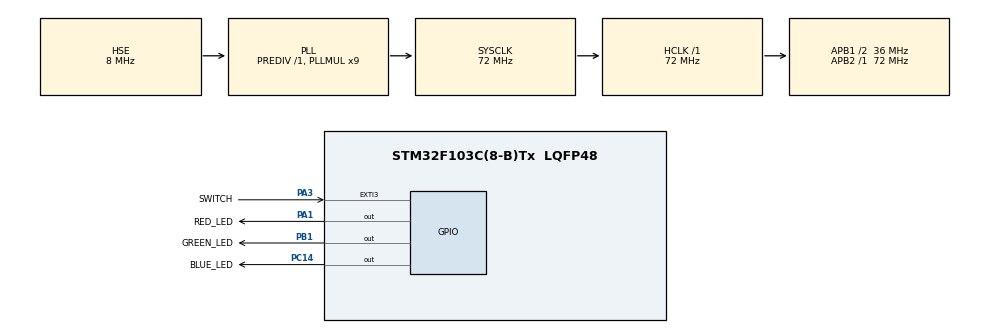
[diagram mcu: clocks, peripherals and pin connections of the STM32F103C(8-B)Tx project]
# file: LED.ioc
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Mcu.Family=STM32F1
Mcu.Name=STM32F103C(8-B)Tx
Mcu.Package=LQFP48
NVIC.EXTI3_IRQn=true\:1\:0\:true\:false\:true\:true\:true\:true
NVIC.PriorityGroup=NVIC_PRIORITYGROUP_4
PA1.GPIO_Label=RED_LED
PA1.PinState=GPIO_PIN_SET
PA1.Signal=GPIO_Output
PA13.Mode=Serial_Wire
PA13.Signal=SYS_JTMS-SWDIO
PA14.Mode=Serial_Wire
PA14.Signal=SYS_JTCK-SWCLK
PA3.GPIO_Label=SWITCH
PA3.GPIO_ModeDefaultEXTI=GPIO_MODE_IT_RISING_FALLING
PA3.GPIO_PuPd=GPIO_PULLDOWN
PA3.Signal=GPXTI3
PB1.GPIO_Label=GREEN_LED
PB1.PinState=GPIO_PIN_SET
PB1.Signal=GPIO_Output
PC14-OSC32_IN.GPIO_Label=BLUE_LED
PC14-OSC32_IN.PinState=GPIO_PIN_SET
PC14-OSC32_IN.Signal=GPIO_Output
PD0-OSC_IN.Mode=HSE-External-Oscillator
PD0-OSC_IN.Signal=RCC_OSC_IN
PD1-OSC_OUT.Mode=HSE-External-Oscillator
PD1-OSC_OUT.Signal=RCC_OSC_OUT
ProjectManager.HeapSize=0x200
ProjectManager.StackSize=0x400
ProjectManager.TargetToolchain=MDK-ARM V5.32
RCC.AHBFreq_Value=72000000
RCC.APB1CLKDivider=RCC_HCLK_DIV2
RCC.APB1Freq_Value=36000000
RCC.APB1TimFreq_Value=72000000
RCC.APB2Freq_Value=72000000
RCC.APB2TimFreq_Value=72000000
RCC.HCLKFreq_Value=72000000
RCC.PLLMUL=RCC_PLL_MUL9
RCC.PLLSourceVirtual=RCC_PLLSOURCE_HSE
RCC.SYSCLKFreq_VALUE=72000000
RCC.SYSCLKSource=RCC_SYSCLKSOURCE_PLLCLK
RCC.USBFreq_Value=72000000
board=custom

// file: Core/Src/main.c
/* USER CODE BEGIN Header */
/**
  ******************************************************************************
  * @file           : main.c
  * @brief          : Main program body
  ******************************************************************************
  * @attention
  *
  * Copyright (c) 2024 STMicroelectronics.
  * All rights reserved.
  *
  * This software is licensed under terms that can be found in the LICENSE file
  * in the root directory of this software component.
  * If no LICENSE file comes with this software, it is provided AS-IS.
  *
  ******************************************************************************
  */
/* USER CODE END Header */
#include "main.h"
#include "gpio.h"

void SystemClock_Config(void);

/* USER CODE BEGIN 0 */
uint32_t flag=0;//自定义中断标识符号
void HAL_GPIO_EXTI_Callback(uint16_t GPIO_Pin)
{
  if(GPIO_Pin == SWITCH_Pin)
	{
      //获取A3的电位
     GPIO_PinState pinState = HAL_GPIO_ReadPin(SWITCH_GPIO_Port,SWITCH_Pin);

      //高电位
      if(pinState==GPIO_PIN_SET)//PA3高电位流水灯亮
      {
		  flag=1;//PA3高电位标识
	  }
      //低电位
      else if(pinState==GPIO_PIN_RESET)//PA3低电位流水灯灭
	  {
		  flag=0;//PA3低电位标识
	  }
    }
}
/* USER CODE END 0 */

int main(void)
{

  /* MCU Configuration--------------------------------------------------------*/

  /* Reset of all peripherals, Initializes the Flash interface and the Systick. */
  HAL_Init();

  /* Configure the system clock */
  SystemClock_Config();

  /* Initialize all configured peripherals */
  MX_GPIO_Init();

  /* Infinite loop */
  /* USER CODE BEGIN WHILE */
  while (1)
  {
//	  if(flag==1)
//	  {
		  HAL_GPIO_WritePin(RED_LED_GPIO_Port,RED_LED_Pin,GPIO_PIN_RESET);//PA1亮灯
          HAL_GPIO_WritePin(GREEN_LED_GPIO_Port,GREEN_LED_Pin,GPIO_PIN_SET);//PB1熄灯
		  HAL_GPIO_WritePin(BLUE_LED_GPIO_Port,BLUE_LED_Pin,GPIO_PIN_SET);//PC14熄灯
		  HAL_Delay(1000);//延时1s
		  HAL_GPIO_WritePin(RED_LED_GPIO_Port,RED_LED_Pin,GPIO_PIN_SET);//PA1熄灯
          HAL_GPIO_WritePin(GREEN_LED_GPIO_Port,GREEN_LED_Pin,GPIO_PIN_RESET);//PB1亮灯
		  HAL_GPIO_WritePin(BLUE_LED_GPIO_Port,BLUE_LED_Pin,GPIO_PIN_SET);//PC14熄灯
		  HAL_Delay(1000);//延时1s
		  HAL_GPIO_WritePin(RED_LED_GPIO_Port,RED_LED_Pin,GPIO_PIN_SET);//PA1熄灯
          HAL_GPIO_WritePin(GREEN_LED_GPIO_Port,GREEN_LED_Pin,GPIO_PIN_SET);//PB1熄灯
		  HAL_GPIO_WritePin(BLUE_LED_GPIO_Port,BLUE_LED_Pin,GPIO_PIN_RESET);//PC14亮灯
		  HAL_Delay(1000);//延时1s
//	  }
//	  else if(flag==0)
//	  {
//		  HAL_GPIO_WritePin(RED_LED_GPIO_Port,RED_LED_Pin,GPIO_PIN_SET);//PA1熄灯
//          HAL_GPIO_WritePin(GREEN_LED_GPIO_Port,GREEN_LED_Pin,GPIO_PIN_SET);//PB1熄灯
//		  HAL_GPIO_WritePin(BLUE_LED_GPIO_Port,BLUE_LED_Pin,GPIO_PIN_SET);//PC14熄灯
////	  }
    /* USER CODE END WHILE */

  }
}

void SystemClock_Config(void)
{
  RCC_OscInitTypeDef RCC_OscInitStruct = {0};
  RCC_ClkInitTypeDef RCC_ClkInitStruct = {0};

  /** Initializes the RCC Oscillators according to the specified parameters
  * in the RCC_OscInitTypeDef structure.
  */
  RCC_OscInitStruct.OscillatorType = RCC_OSCILLATORTYPE_HSE;
  RCC_OscInitStruct.HSEState = RCC_HSE_ON;
  RCC_OscInitStruct.HSEPredivValue = RCC_HSE_PREDIV_DIV1;
  RCC_OscInitStruct.HSIState = RCC_HSI_ON;
  RCC_OscInitStruct.PLL.PLLState = RCC_PLL_ON;
  RCC_OscInitStruct.PLL.PLLSource = RCC_PLLSOURCE_HSE;
  RCC_OscInitStruct.PLL.PLLMUL = RCC_PLL_MUL9;
  if (HAL_RCC_OscConfig(&RCC_OscInitStruct) != HAL_OK)
  {
    Error_Handler();
  }

  /** Initializes the CPU, AHB and APB buses clocks
  */
  RCC_ClkInitStruct.ClockType = RCC_CLOCKTYPE_HCLK|RCC_CLOCKTYPE_SYSCLK
                              |RCC_CLOCKTYPE_PCLK1|RCC_CLOCKTYPE_PCLK2;
  RCC_ClkInitStruct.SYSCLKSource = RCC_SYSCLKSOURCE_PLLCLK;
  RCC_ClkInitStruct.AHBCLKDivider = RCC_SYSCLK_DIV1;
  RCC_ClkInitStruct.APB1CLKDivider = RCC_HCLK_DIV2;
  RCC_ClkInitStruct.APB2CLKDivider = RCC_HCLK_DIV1;

  if (HAL_RCC_ClockConfig(&RCC_ClkInitStruct, FLASH_LATENCY_2) != HAL_OK)
  {
    Error_Handler();
  }
}

void Error_Handler(void)
{
  __disable_irq();
  while (1)
  {
  }
}
